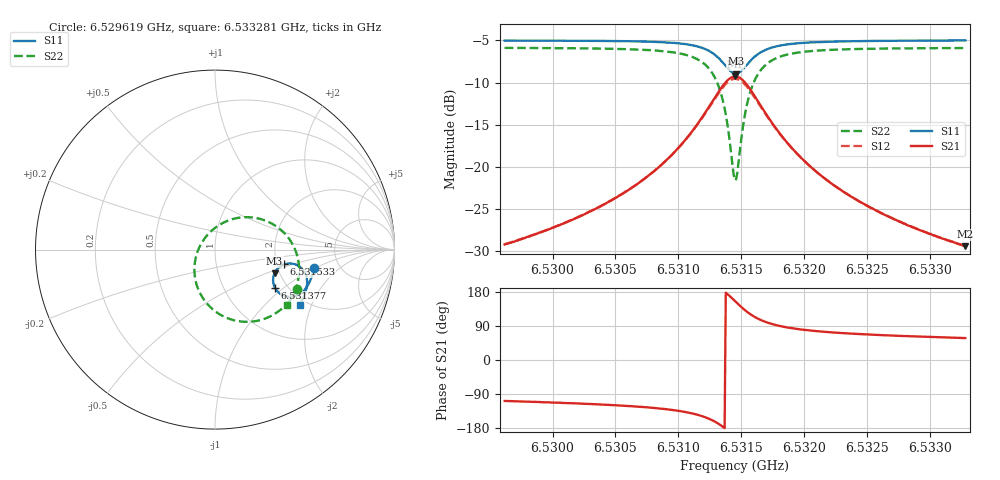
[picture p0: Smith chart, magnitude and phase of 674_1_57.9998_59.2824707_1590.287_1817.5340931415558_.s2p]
#  HZ  S  RI  R  50.00
! Rohde & Schwarz Vector Network Analyzer
! Rohde-Schwarz,ZNB20-2Port,1311601062101988,3.16
! Created: UTC 3/21/2024, 1:20:29 AM
! freq[Hz]  re:S11  im:S11  re:S21  im:S21  re:S12  im:S12  re:S22  im:S22
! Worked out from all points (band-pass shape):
!   401 points, 6.529619 GHz to 6.533281 GHz, reference 50 ohm
!   highest |S21| = -9.27 dB at 6.53145 GHz (marker M1); lowest = -29.4 dB at 6.533281 GHz (marker M2)
!   |S21| within 3 dB of the highest: 6.531269 GHz to 6.531635 GHz (366.3 kHz wide, 0.00561 % of centre)
!   lowest |S11| = -8.9 dB at 6.531459 GHz (marker M3), VSWR 2.11, Z = 94.2 - j28.3 ohm
!   |S11| at or under -10 dB: nowhere
!   |S22| runs from -21.6 to -5.9 dB; largest |S21 - S12| = 0.014
!   S11 on the Smith chart (normalised r, x): 6.529619 GHz: 3.24, -0.96; 6.531377 GHz: 1.73, -0.87; 6.531533 GHz: 2.20, -0.43; 6.533281 GHz: 1.83, -1.64
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6.5296193e9  0.5511 -0.102  -0.0108 -0.033  -0.0115 -0.0328  0.4578 -0.2192
6.5302326e9  0.5375 -0.1541  -0.0221 -0.0468  -0.0231 -0.0462  0.4213 -0.2774
6.5305713e9  0.5241 -0.1867  -0.0362 -0.0607  -0.0378 -0.0597  0.3844 -0.3186
6.530846e9  0.5047 -0.2181  -0.0613 -0.0791  -0.0636 -0.0771  0.3282 -0.3612
6.5310657e9  0.4721 -0.2477  -0.1096 -0.0991  -0.1126 -0.0951  0.232 -0.3975
6.5312213e9  0.4211 -0.2633  -0.1891 -0.1004  -0.1909 -0.092  0.0885 -0.3888
6.5313128e9  0.3704 -0.2505  -0.2669 -0.0617  -0.264 -0.0504  -0.0377 -0.3083
6.5313494e9  0.3483 -0.2329  -0.2992 -0.0251  -0.2927 -0.0135  -0.0844 -0.2407
6.5313769e9  0.3343 -0.213  -0.3179 0.0128  -0.3087 0.0235  -0.1081 -0.1739
6.5314318e9  0.3243 -0.1593  -0.3237 0.1094  -0.3105 0.1145  -0.0988 -0.0151
6.5314501e9  0.3285 -0.1402  -0.3129 0.1426  -0.2993 0.1451  -0.0749 0.0366
6.5314593e9  0.3322 -0.131  -0.305 0.1582  -0.2915 0.1596  -0.059 0.0607
6.5314776e9  0.3422 -0.1143  -0.2851 0.1865  -0.2722 0.1857  -0.0214 0.1031
6.5315325e9  0.3856 -0.0823  -0.2052 0.2389  -0.1968 0.2343  0.1183 0.175
6.53156e9  0.4089 -0.0775  -0.1642 0.2467  -0.1582 0.2416  0.187 0.1806
6.5315966e9  0.4365 -0.0792  -0.1168 0.2436  -0.1128 0.2391  0.2657 0.1668
6.5316881e9  0.4815 -0.1031  -0.0405 0.2071  -0.0388 0.2045  0.3889 0.089
6.5318255e9  0.5072 -0.1428  0.00419 0.1512  0.00548 0.1503  0.4542 -0.021
6.5320635e9  0.5133 -0.1904  0.0216 0.096  0.0228 0.0955  0.4681 -0.1331
6.5323289e9  0.5074 -0.2253  0.0233 0.0659  0.0244 0.0656  0.4559 -0.1996
6.5326768e9  0.4953 -0.2593  0.0215 0.0456  0.0223 0.0455  0.4355 -0.2527
6.533281e9  0.4709 -0.3063  0.0181 0.0287  0.0187 0.0283  0.4006 -0.3103
